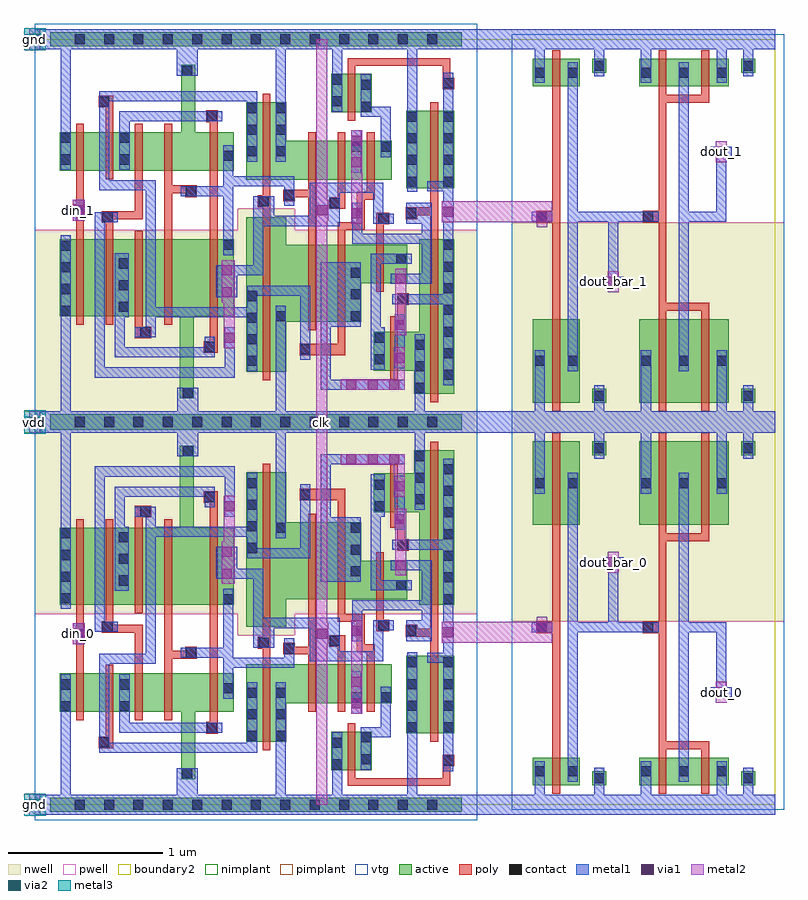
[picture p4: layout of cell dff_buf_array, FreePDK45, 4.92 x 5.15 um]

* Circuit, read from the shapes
.subckt dff_buf_array clk din_0 din_1 dout_0 dout_1 dout_bar_0 dout_bar_1 gnd vdd
M1 n1 din_0 gnd gnd nfet w=0.25u l=0.05u
M2 n2 din_1 gnd gnd nfet w=0.25u l=0.05u
M3 n3 n4 n1 gnd nfet w=0.25u l=0.05u
M4 n5 n6 n2 gnd nfet w=0.25u l=0.05u
M5 n7 clk n3 gnd nfet w=0.25u l=0.05u
M6 n8 clk n5 gnd nfet w=0.25u l=0.05u
M7 gnd n9 n7 gnd nfet w=0.25u l=0.05u
M8 gnd n10 n8 gnd nfet w=0.25u l=0.05u
M9 n9 n3 gnd gnd nfet w=0.25u l=0.05u
M10 n10 n5 gnd gnd nfet w=0.25u l=0.05u
M11 gnd clk n4 gnd nfet w=0.5u l=0.05u
M12 gnd clk n6 gnd nfet w=0.5u l=0.05u
M13 n11 n9 gnd gnd nfet w=0.25u l=0.05u
M14 n12 n10 gnd gnd nfet w=0.25u l=0.05u
M15 n13 clk n11 gnd nfet w=0.25u l=0.05u
M16 n14 clk n12 gnd nfet w=0.25u l=0.05u
M17 n15 dff_buf_0_0/pinv_3_1/A gnd gnd nfet w=0.25u l=0.05u
M18 n16 dff_buf_0_1/pinv_3_1/A gnd gnd nfet w=0.25u l=0.05u
M19 n15 n4 n13 gnd nfet w=0.25u l=0.05u
M20 n16 n6 n14 gnd nfet w=0.25u l=0.05u
M21 dff_buf_0_0/pinv_3_1/A n13 gnd gnd nfet w=0.5u l=0.05u
M22 dff_buf_0_1/pinv_3_1/A n14 gnd gnd nfet w=0.5u l=0.05u
M23 dout_bar_0 dff_buf_0_0/pinv_3_1/A gnd gnd nfet w=0.18u l=0.05u
M24 dout_bar_1 dff_buf_0_1/pinv_3_1/A gnd gnd nfet w=0.18u l=0.05u
M25 dout_0 dout_bar_0 gnd gnd nfet w=0.18u l=0.05u m=2
M26 dout_1 dout_bar_1 gnd gnd nfet w=0.18u l=0.05u m=2
M27 n17 din_0 vdd vdd pfet w=0.5u l=0.05u
M28 n18 din_1 vdd vdd pfet w=0.5u l=0.05u
M29 n3 clk n17 vdd pfet w=0.5u l=0.05u
M30 n5 clk n18 vdd pfet w=0.5u l=0.05u
M31 n19 n4 n3 vdd pfet w=0.5u l=0.05u
M32 n20 n6 n5 vdd pfet w=0.5u l=0.05u
M33 vdd n9 n19 vdd pfet w=0.5u l=0.05u
M34 vdd n10 n20 vdd pfet w=0.5u l=0.05u
M35 n9 n3 vdd vdd pfet w=0.5u l=0.05u
M36 n10 n5 vdd vdd pfet w=0.5u l=0.05u
M37 vdd clk n4 vdd pfet w=1u l=0.05u
M38 vdd clk n6 vdd pfet w=1u l=0.05u
M39 n21 n9 vdd vdd pfet w=0.5u l=0.05u
M40 n22 n10 vdd vdd pfet w=0.5u l=0.05u
M41 n13 n4 n21 vdd pfet w=0.5u l=0.05u
M42 n14 n6 n22 vdd pfet w=0.5u l=0.05u
M43 n23 clk n13 vdd pfet w=0.25u l=0.05u
M44 n24 clk n14 vdd pfet w=0.25u l=0.05u
M45 vdd dff_buf_0_0/pinv_3_1/A n23 vdd pfet w=0.25u l=0.05u
M46 vdd dff_buf_0_1/pinv_3_1/A n24 vdd pfet w=0.25u l=0.05u
M47 dff_buf_0_0/pinv_3_1/A n13 vdd vdd pfet w=1u l=0.05u
M48 dff_buf_0_1/pinv_3_1/A n14 vdd vdd pfet w=1u l=0.05u
M49 dout_bar_0 dff_buf_0_0/pinv_3_1/A vdd vdd pfet w=0.54u l=0.05u
M50 dout_bar_1 dff_buf_0_1/pinv_3_1/A vdd vdd pfet w=0.54u l=0.05u
M51 dout_0 dout_bar_0 vdd vdd pfet w=0.54u l=0.05u m=2
M52 dout_1 dout_bar_1 vdd vdd pfet w=0.54u l=0.05u m=2
.ends

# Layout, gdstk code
import gdstk
lib = gdstk.Library(unit=1e-6, precision=5e-10)
def R(c, l, rs):  # rectangles x0, y0, x1, y1
    for r in rs: c.add(gdstk.rectangle(r[:2], r[2:], *l))
def A(c, l, x, y, w, h, nx, ny, dx, dy):  # array of equal rectangles
    R(c, l, [(x+i*dx, y+j*dy, x+i*dx+w, y+j*dy+h) for i in range(nx) for j in range(ny)])
def P(c, l, *ps):  # polygons
    for p in ps: c.add(gdstk.Polygon(p, *l))
active = (1, 0)
pwell = (2, 0)
nwell = (3, 0)
nimplant = (4, 0)
pimplant = (5, 0)
vtg = (6, 0)
poly = (9, 0)
contact = (10, 0)
metal1 = (11, 0)
via1 = (12, 0)
metal2 = (13, 0)
via2 = (14, 0)
metal3 = (15, 0)
boundary2 = (239, 0)

dff = lib.new_cell('dff')
A(dff, active, 0.2675, 0.6, 0.05, 0.25, 4, 1, 0.19, 0)
A(dff, active, 0.3175, 0.6, 0.14, 0.25, 3, 1, 0.19, 0)
A(dff, active, 1.7675, 0.6575, 0.05, 0.25, 3, 1, 0.19, 0)
A(dff, active, 0.2675, 1.2925, 0.05, 0.5, 4, 1, 0.19, 0)
A(dff, active, 0.3175, 1.2925, 0.14, 0.5, 3, 1, 0.19, 0)
R(dff, active, [(0.1,-0.045,2.76,0.045), (1.9175,0.2225,2.0225,0.4725), (2.0225,0.2225,2.0725,0.4725), (2.0725,0.2225,2.1775,0.4725), (1.3675,0.4075,1.4725,0.9075), (1.4725,0.4075,1.5225,0.9075), (2.4025,0.4625,2.5575,0.9625), (2.5575,0.4625,2.6075,0.9625), (2.6075,0.4625,2.7125,0.9625), (0.1625,0.6,0.2675,0.85), (1.1325,0.6,1.1825,0.85), (1.1825,0.6,1.2875,0.85), (1.8175,0.6575,1.9575,0.9075), (2.0075,0.6575,2.1475,0.9075), (2.1975,0.6575,2.3075,0.9075), (1.3675,1.15,1.4725,2.15), (1.4725,1.15,1.5225,2.15), (0.1625,1.2925,0.2675,1.7925), (1.1325,1.2925,1.1825,1.7925), (1.1825,1.2925,1.2875,1.7925), (2.5575,1.2925,2.6075,2.2925), (2.6075,1.2925,2.7125,2.2925), (1.7675,1.3275,1.8175,1.8275), (1.8175,1.3275,1.9575,1.8275), (1.9575,1.3275,2.0075,1.8275), (2.2075,1.3275,2.2575,1.5775), (2.2575,1.3275,2.4075,1.5775), (2.1925,1.8925,2.2975,2.1425), (2.2975,1.8925,2.3475,2.1425), (0.1,2.425,2.76,2.515)])
P(dff, active, [(0.8875,1.2925),(0.8875,1.7925),(0.9375,1.7925),(0.9375,2.3225),(1.0275,2.3225),(1.0275,1.7925),(1.1325,1.7925),(1.1325,1.2925)],
  [(1.5225,1.15),(1.5225,2.15),(1.6275,2.15),(1.6275,1.8275),(1.7675,1.8275),(1.7675,1.3275),(1.6275,1.3275),(1.6275,1.15)],
  [(2.0075,1.3275),(2.0075,1.8275),(2.1125,1.8275),(2.1125,1.5775),(2.2075,1.5775),(2.2075,1.3275)],
  [(2.4875,1.2925),(2.4875,1.8925),(2.3475,1.8925),(2.3475,2.1425),(2.4525,2.1425),(2.4525,2.2925),(2.5575,2.2925),(2.5575,1.2925)],
  [(0.9475,0.165),(0.9475,0.6),(0.8875,0.6),(0.8875,0.85),(1.1325,0.85),(1.1325,0.6),(1.0375,0.6),(1.0375,0.165)],
  [(1.5225,0.4075),(1.5225,0.9075),(1.7675,0.9075),(1.7675,0.6575),(1.6275,0.6575),(1.6275,0.4075)])
P(dff, pwell, [(0,-0.1),(0,1.235),(1.3125,1.235),(1.3125,1.095),(1.6825,1.095),(1.6825,1.235),(2.86,1.235),(2.86,-0.1)])
P(dff, nwell, [(1.3125,1.095),(1.3125,1.235),(0,1.235),(0,2.57),(2.86,2.57),(2.86,1.235),(1.6825,1.235),(1.6825,1.095)])
A(dff, nimplant, 0.2675, 0.6, 0.05, 0.25, 4, 1, 0.19, 0)
A(dff, nimplant, 0.3175, 0.6, 0.14, 0.25, 3, 1, 0.19, 0)
A(dff, nimplant, 1.7675, 0.6575, 0.05, 0.25, 3, 1, 0.19, 0)
R(dff, nimplant, [(1.9175,0.2225,2.0225,0.4725), (2.0225,0.2225,2.0725,0.4725), (2.0725,0.2225,2.1775,0.4725), (1.3675,0.4075,1.4725,0.9075), (1.4725,0.4075,1.5225,0.9075), (2.4025,0.4625,2.5575,0.9625), (2.5575,0.4625,2.6075,0.9625), (2.6075,0.4625,2.7125,0.9625), (0.1625,0.6,0.2675,0.85), (1.1325,0.6,1.1825,0.85), (1.1825,0.6,1.2875,0.85), (1.8175,0.6575,1.9575,0.9075), (2.0075,0.6575,2.1475,0.9075), (2.1975,0.6575,2.3075,0.9075), (0.1,2.425,2.76,2.515)])
P(dff, nimplant, [(0.9475,0.165),(0.9475,0.6),(0.8875,0.6),(0.8875,0.85),(1.1325,0.85),(1.1325,0.6),(1.0375,0.6),(1.0375,0.165)],
  [(1.5225,0.4075),(1.5225,0.9075),(1.7675,0.9075),(1.7675,0.6575),(1.6275,0.6575),(1.6275,0.4075)])
A(dff, pimplant, 0.2675, 1.2925, 0.05, 0.5, 4, 1, 0.19, 0)
A(dff, pimplant, 0.3175, 1.2925, 0.14, 0.5, 3, 1, 0.19, 0)
R(dff, pimplant, [(0.1,-0.045,2.76,0.045), (1.3675,1.15,1.4725,2.15), (1.4725,1.15,1.5225,2.15), (0.1625,1.2925,0.2675,1.7925), (1.1325,1.2925,1.1825,1.7925), (1.1825,1.2925,1.2875,1.7925), (2.5575,1.2925,2.6075,2.2925), (2.6075,1.2925,2.7125,2.2925), (1.7675,1.3275,1.8175,1.8275), (1.8175,1.3275,1.9575,1.8275), (1.9575,1.3275,2.0075,1.8275), (2.2075,1.3275,2.2575,1.5775), (2.2575,1.3275,2.4075,1.5775), (2.1925,1.8925,2.2975,2.1425), (2.2975,1.8925,2.3475,2.1425)])
P(dff, pimplant, [(0.8875,1.2925),(0.8875,1.7925),(0.9375,1.7925),(0.9375,2.3225),(1.0275,2.3225),(1.0275,1.7925),(1.1325,1.7925),(1.1325,1.2925)],
  [(1.5225,1.15),(1.5225,2.15),(1.6275,2.15),(1.6275,1.8275),(1.7675,1.8275),(1.7675,1.3275),(1.6275,1.3275),(1.6275,1.15)],
  [(2.0075,1.3275),(2.0075,1.8275),(2.1125,1.8275),(2.1125,1.5775),(2.2075,1.5775),(2.2075,1.3275)],
  [(2.4875,1.2925),(2.4875,1.8925),(2.3475,1.8925),(2.3475,2.1425),(2.4525,2.1425),(2.4525,2.2925),(2.5575,2.2925),(2.5575,1.2925)])
R(dff, vtg, [(0,-0.1,2.86,2.57)])
A(dff, poly, 0.2675, 0.6, 0.05, 0.25, 4, 1, 0.19, 0)
A(dff, poly, 1.7675, 0.6025, 0.05, 0.055, 3, 1, 0.19, 0)
A(dff, poly, 1.7675, 0.6575, 0.05, 0.25, 3, 1, 0.19, 0)
A(dff, poly, 0.2675, 1.2925, 0.05, 0.5, 4, 1, 0.19, 0)
R(dff, poly, [(2.0225,0.2225,2.0725,0.4725), (1.4725,0.3525,1.5225,0.4075), (1.4725,0.4075,1.5225,0.9075), (2.5575,0.4075,2.6075,0.4625), (2.5575,0.4625,2.6075,0.9625), (2.0225,0.4725,2.0725,0.5275), (0.2675,0.545,0.3175,0.6), (0.6475,0.545,0.6975,0.6), (0.8375,0.545,0.8875,0.6), (1.1325,0.6,1.1825,0.85), (0.4575,0.85,0.5075,0.905), (1.1325,0.85,1.1825,1.2925), (1.4725,1.15,1.5225,2.15), (0.6475,1.2375,0.6975,1.2925), (1.1325,1.2925,1.1825,1.7925), (2.5575,1.2925,2.6075,2.2925), (1.7675,1.3275,1.8175,1.8275), (1.9575,1.3275,2.0075,1.8275), (2.2075,1.3275,2.2575,1.5775), (2.2075,1.5775,2.2575,1.6325), (0.2675,1.7925,0.3175,1.8475), (0.4575,1.7925,0.5075,1.8475), (0.8375,1.7925,0.8875,1.8475), (1.7675,1.8275,1.8175,1.8825), (2.2975,1.8925,2.3475,2.1425), (2.2975,2.1425,2.3475,2.1975), (1.4725,2.15,1.5225,2.205), (2.5575,2.2925,2.6075,2.3475)])
P(dff, poly, [(0.2675,0.85),(0.2675,1.0675),(0.2425,1.0675),(0.2425,1.1425),(0.2675,1.1425),(0.2675,1.2925),(0.3175,1.2925),(0.3175,0.85)],
  [(0.4125,0.365),(0.4125,0.44),(0.4575,0.44),(0.4575,0.6),(0.5075,0.6),(0.5075,0.365)],
  [(0.6475,1.7925),(0.6475,1.9325),(0.7525,1.9325),(0.7525,1.8575),(0.6975,1.8575),(0.6975,1.7925)],
  [(0.6475,0.85),(0.6475,1.1125),(0.4325,1.1125),(0.4325,1.1875),(0.4575,1.1875),(0.4575,1.2925),(0.5075,1.2925),(0.5075,1.1625),(0.6975,1.1625),(0.6975,0.85)],
  [(0.8375,0.85),(0.8375,1.2925),(0.8875,1.2925),(0.8875,0.995),(0.9725,0.995),(0.9725,1.02),(1.0475,1.02),(1.0475,0.945),(0.8875,0.945),(0.8875,0.85)],
  [(1.1325,1.7925),(1.1325,1.9525),(1.0925,1.9525),(1.0925,2.0275),(1.1825,2.0275),(1.1825,1.7925)],
  [(1.1075,0.46),(1.1075,0.535),(1.1325,0.535),(1.1325,0.6),(1.1825,0.6),(1.1825,0.46)],
  [(1.4725,0.9075),(1.4725,1.01),(1.4425,1.01),(1.4425,1.085),(1.4725,1.085),(1.4725,1.15),(1.5225,1.15),(1.5225,0.9075)],
  [(1.7675,0.9075),(1.7675,0.9725),(1.6075,0.9725),(1.6075,1.0475),(1.6825,1.0475),(1.6825,1.0225),(1.7675,1.0225),(1.7675,1.3275),(1.8175,1.3275),(1.8175,0.9075)],
  [(1.9575,1.8275),(1.9575,1.9675),(1.7125,1.9675),(1.7125,2.0425),(2.0075,2.0425),(2.0075,1.8275)],
  [(1.9575,0.9075),(1.9575,1.0225),(1.9025,1.0225),(1.9025,1.0975),(2.0075,1.0975),(2.0075,0.9075)],
  [(2.3425,1.6425),(2.3425,1.7925),(2.2975,1.7925),(2.2975,1.8925),(2.3475,1.8925),(2.3475,1.8425),(2.3925,1.8425),(2.3925,1.7175),(2.4175,1.7175),(2.4175,1.6425)],
  [(2.2075,1.1225),(2.2075,1.3275),(2.2575,1.3275),(2.2575,1.1975),(2.2925,1.1975),(2.2925,1.1225)],
  [(2.0225,0.1225),(2.0225,0.2225),(2.0725,0.2225),(2.0725,0.1725),(2.6375,0.1725),(2.6375,0.3225),(2.7125,0.3225),(2.7125,0.2475),(2.6875,0.2475),(2.6875,0.1225)],
  [(2.1475,0.9075),(2.1475,0.9875),(2.0825,0.9875),(2.0825,1.1825),(1.9575,1.1825),(1.9575,1.3275),(2.0075,1.3275),(2.0075,1.2325),(2.1325,1.2325),(2.1325,1.0375),(2.1975,1.0375),(2.1975,0.9075)],
  [(2.5575,0.9625),(2.5575,1.0875),(2.3975,1.0875),(2.3975,1.1625),(2.4725,1.1625),(2.4725,1.1375),(2.5575,1.1375),(2.5575,1.2925),(2.6075,1.2925),(2.6075,0.9625)])
A(dff, contact, 0.2575, -0.0325, 0.065, 0.065, 13, 2, 0.19, 2.475)
A(dff, contact, 1.3725, 0.4125, 0.065, 0.065, 1, 3, 0, 0.14)
A(dff, contact, 1.5575, 0.4125, 0.065, 0.065, 1, 3, 0, 0.14)
A(dff, contact, 2.4075, 0.4675, 0.065, 0.065, 1, 4, 0, 0.14)
A(dff, contact, 2.6425, 0.4675, 0.065, 0.065, 1, 4, 0, 0.14)
A(dff, contact, 2.6425, 1.2975, 0.065, 0.065, 1, 7, 0, 0.14)
A(dff, contact, 0.1675, 1.3025, 0.065, 0.065, 1, 4, 0, 0.14)
A(dff, contact, 0.5425, 1.4175, 0.065, 0.065, 1, 3, 0, 0.14)
A(dff, contact, 2.0425, 1.4775, 0.065, 0.065, 1, 3, 0, 0.14)
A(dff, contact, 1.3725, 1.6275, 0.065, 0.065, 1, 4, 0, 0.14)
A(dff, contact, 2.4575, 1.9425, 0.065, 0.065, 1, 3, 0, 0.14)
R(dff, contact, [(0.9525,0.17,1.0175,0.235), (1.9225,0.2275,1.9875,0.2925), (2.6425,0.2525,2.7075,0.3175), (2.1075,0.2625,2.1725,0.3275), (1.9225,0.3675,1.9875,0.4325), (0.4175,0.37,0.4825,0.435), (2.1075,0.4025,2.1725,0.4675), (1.1125,0.465,1.1775,0.53), (0.1675,0.605,0.2325,0.67), (0.5475,0.605,0.6125,0.67), (2.0475,0.6625,2.1125,0.7275), (2.2375,0.6625,2.3025,0.7275), (1.2175,0.72,1.2825,0.785), (0.1675,0.745,0.2325,0.81), (0.5475,0.745,0.6125,0.81), (0.9775,0.95,1.0425,1.015), (1.6125,0.9775,1.6775,1.0425), (1.4475,1.015,1.5125,1.08), (1.9075,1.0275,1.9725,1.0925), (0.2475,1.0725,0.3125,1.1375), (2.4025,1.0925,2.4675,1.1575), (0.4375,1.1175,0.5025,1.1825), (2.2225,1.1275,2.2875,1.1925), (1.2175,1.2975,1.2825,1.3625), (2.3375,1.3875,2.4025,1.4525), (2.3475,1.6475,2.4125,1.7125), (1.5575,1.7575,1.6225,1.8225), (0.6825,1.8625,0.7475,1.9275), (2.1975,1.8975,2.2625,1.9625), (1.0975,1.9575,1.1625,2.0225), (1.7175,1.9725,1.7825,2.0375), (2.1975,2.0375,2.2625,2.1025), (0.9575,2.2525,1.0225,2.3175)])
R(dff, metal1, [(0,-0.065,2.86,0.065), (0,-0.065,2.86,0.065), (0,-0.065,2.86,0.065), (2.0475,0.5875,2.1125,0.8625), (2.6425,0.915,2.7075,1.1275), (1.7775,0.9275,1.9725,1.2075), (0.245,1.0375,0.3225,1.1725), (2.6325,1.0475,2.71,1.1825), (2.3275,1.7775,2.3925,2.1275), (0,2.405,2.76,2.535), (0,2.405,2.76,2.535), (0,2.405,2.76,2.535)])
P(dff, metal1, [(0.1675,1.2675),(0.1675,2.405),(0.1,2.405),(0.1,2.535),(2.86,2.535),(2.86,2.405),(2.5225,2.405),(2.5225,1.9075),(2.4575,1.9075),(2.4575,2.405),(1.6225,2.405),(1.6225,1.7225),(1.5575,1.7225),(1.5575,2.405),(1.0575,2.405),(1.0575,2.2525),(0.9225,2.2525),(0.9225,2.405),(0.2325,2.405),(0.2325,1.2675)],
  [(0.1,-0.065),(0.1,0.065),(0.1675,0.065),(0.1675,0.845),(0.2325,0.845),(0.2325,0.065),(0.9175,0.065),(0.9175,0.235),(1.0525,0.235),(1.0525,0.065),(1.5575,0.065),(1.5575,0.7925),(1.6225,0.7925),(1.6225,0.065),(1.9225,0.065),(1.9225,0.4675),(1.9875,0.4675),(1.9875,0.065),(2.4075,0.065),(2.4075,0.9875),(2.4725,0.9875),(2.4725,0.065),(2.76,0.065),(2.76,-0.065)],
  [(0.4175,0.335),(0.4175,0.975),(0.7175,0.975),(0.7175,1.8625),(0.6475,1.8625),(0.6475,1.9275),(0.7825,1.9275),(0.7825,1.7975),(1.3725,1.7975),(1.3725,2.1475),(1.4375,2.1475),(1.4375,1.6575),(1.7175,1.6575),(1.7175,2.0725),(1.7825,2.0725),(1.7825,1.5925),(1.3725,1.5925),(1.3725,1.7325),(0.7825,1.7325),(0.7825,0.91),(0.4825,0.91),(0.4825,0.4),(1.3725,0.4),(1.3725,0.7925),(1.4375,0.7925),(1.4375,0.335)],
  [(1.7775,0.9275),(1.7775,1.1425),(1.5475,1.1425),(1.5475,1.015),(1.4125,1.015),(1.4125,1.4625),(1.1725,1.4625),(1.1725,1.6675),(1.3075,1.6675),(1.3075,1.5275),(1.4775,1.5275),(1.4775,1.2075),(1.9725,1.2075),(1.9725,0.9925),(2.1875,0.9925),(2.1875,1.1925),(2.3225,1.1925),(2.3225,1.1275),(2.2525,1.1275),(2.2525,0.9275)],
  [(0.3875,1.1175),(0.3875,2.1875),(1.2925,2.1875),(1.2925,1.8625),(1.2275,1.8625),(1.2275,2.1225),(0.4525,2.1225),(0.4525,1.1825),(0.5375,1.1825),(0.5375,1.1175)],
  [(0.5175,1.3825),(0.5175,2.0575),(1.1625,2.0575),(1.1625,1.9225),(1.0975,1.9225),(1.0975,1.9925),(0.5825,1.9925),(0.5825,1.7975),(0.6075,1.7975),(0.6075,1.3825)],
  [(0.5475,0.465),(0.5475,0.845),(0.6125,0.845),(0.6125,0.53),(1.2125,0.53),(1.2125,0.465)],
  [(1.2175,0.685),(1.2175,0.95),(0.9425,0.95),(0.9425,1.015),(1.2175,1.015),(1.2175,1.3975),(1.2825,1.3975),(1.2825,0.95),(1.6125,0.95),(1.6125,1.0775),(1.6775,1.0775),(1.6775,0.885),(1.2825,0.885),(1.2825,0.685)],
  [(1.8475,1.4425),(1.8475,2.2675),(2.3925,2.2675),(2.3925,2.2025),(1.9125,2.2025),(1.9125,1.8575),(2.1075,1.8575),(2.1075,1.4425)],
  [(2.0525,1.0575),(2.0525,1.3225),(2.5025,1.3225),(2.5025,1.5175),(2.3025,1.5175),(2.3025,1.5825),(2.5675,1.5825),(2.5675,1.0575),(2.4025,1.0575),(2.4025,1.1925),(2.5025,1.1925),(2.5025,1.2575),(2.1175,1.2575),(2.1175,1.0575)],
  [(2.1725,1.3875),(2.1725,2.1375),(2.2625,2.1375),(2.2625,1.8625),(2.2375,1.8625),(2.2375,1.4525),(2.4375,1.4525),(2.4375,1.3875)],
  [(2.6425,0.2175),(2.6425,0.9175),(2.5375,0.9175),(2.5375,0.9825),(2.6425,0.9825),(2.6425,1.6475),(2.3125,1.6475),(2.3125,1.7125),(2.6425,1.7125),(2.6425,2.2375),(2.7075,2.2375),(2.7075,0.2175)],
  [(2.1075,0.2275),(2.1075,0.5025),(2.2375,0.5025),(2.2375,0.7625),(2.3025,0.7625),(2.3025,0.4375),(2.1725,0.4375),(2.1725,0.2275)])
A(dff, via1, 2.0125, 2.2025, 0.065, 0.065, 3, 1, 0.14, 0)
R(dff, via1, [(2.0475,0.6225,2.1125,0.6875), (2.0475,0.7625,2.1125,0.8275), (0.2475,1.0725,0.3125,1.1375), (1.825,1.0725,1.89,1.1375), (2.64,1.0825,2.705,1.1475), (2.0525,1.0925,2.1175,1.1575), (1.2075,1.4625,1.2725,1.5275), (2.3375,1.5175,2.4025,1.5825), (1.2075,1.6025,1.2725,1.6675), (2.3275,1.8125,2.3925,1.8775), (1.2275,1.8975,1.2925,1.9625), (2.3275,2.0275,2.3925,2.0925)])
R(dff, metal2, [(2.0475,0.5875,2.1175,1.1925), (0.245,1.0375,0.3225,1.1725), (0.245,1.0375,0.3225,1.1725), (0.245,1.0375,0.3225,1.1725), (1.82,1.0375,1.8975,1.1725), (1.82,1.0375,1.8975,1.1725), (1.82,1.0375,1.8975,1.1725), (2.6325,1.0475,2.71,1.1825), (2.6325,1.0475,2.71,1.1825), (2.6325,1.0475,2.71,1.1825)])
P(dff, metal2, [(1.2075,1.4275),(1.2075,1.7025),(1.2225,1.7025),(1.2225,1.9975),(1.2925,1.9975),(1.2925,1.4275)],
  [(2.3225,1.9925),(2.3225,2.1975),(1.9775,2.1975),(1.9775,2.2675),(2.3925,2.2675),(2.3925,1.9925)],
  [(2.3325,1.4825),(2.3325,1.7775),(2.3275,1.7775),(2.3275,1.9125),(2.4025,1.9125),(2.4025,1.4825)])
R(dff, boundary2, [(0,0,2.86,2.475)])
dff.add(gdstk.Label('clk', (1.865,1.15), layer=13, texttype=0))
dff.add(gdstk.Label('D', (0.295,1.15), layer=13, texttype=0))
dff.add(gdstk.Label('Q', (2.685,1.1), layer=13, texttype=0))
dff.add(gdstk.Label('D', (0.284,1.105), layer=13, texttype=0))
dff.add(gdstk.Label('Q', (2.671,1.115), layer=13, texttype=0))
dff.add(gdstk.Label('clk', (1.859,1.105), layer=13, texttype=0))
dff.add(gdstk.Label('vdd', (2.035,2.5325), layer=11, texttype=0))
dff.add(gdstk.Label('gnd', (1.645,0.0425), layer=11, texttype=0))
dff.add(gdstk.Label('vdd', (1.38,2.47), layer=11, texttype=0))
dff.add(gdstk.Label('gnd', (1.43,0), layer=11, texttype=0))

contact_10 = lib.new_cell('contact_10')
R(contact_10, active, [(0,0.0225,0.09,0.1125)])
R(contact_10, nwell, [(-0.055,-0.0325,0.145,0.1675)])
R(contact_10, pimplant, [(0,0.0225,0.09,0.1125)])
R(contact_10, contact, [(0.0125,0.035,0.0775,0.1)])
R(contact_10, metal1, [(0.0125,0,0.0775,0.135)])
R(contact_10, boundary2, [(-0.055,-0.0325,0.145,0.1675)])

pmos_m1_w0_540_sm1_dm1_d = lib.new_cell('pmos_m1_w0_540_sm1_dm1_da_p')
R(pmos_m1_w0_540_sm1_dm1_d, active, [(0,0,0.305,0.54)])
R(pmos_m1_w0_540_sm1_dm1_d, nwell, [(-0.08,-0.08,0.385,0.62)])
R(pmos_m1_w0_540_sm1_dm1_d, pimplant, [(0,0,0.305,0.54)])
R(pmos_m1_w0_540_sm1_dm1_d, vtg, [(-0.08,-0.08,0.385,0.62)])
R(pmos_m1_w0_540_sm1_dm1_d, poly, [(0.1275,-0.055,0.1775,0.595), (0.1275,-0.055,0.1775,0.595)])
R(pmos_m1_w0_540_sm1_dm1_d, metal1, [(0.0125,0.2025,0.0775,0.3375), (0.2275,0.2025,0.2925,0.3375)])
R(pmos_m1_w0_540_sm1_dm1_d, boundary2, [(-0.08,-0.08,0.385,0.62)])
pmos_m1_w0_540_sm1_dm1_d.add(gdstk.Reference(contact_10, (0,0.2025)))
pmos_m1_w0_540_sm1_dm1_d.add(gdstk.Reference(contact_10, (0.215,0.2025)))
pmos_m1_w0_540_sm1_dm1_d.add(gdstk.Label('S', (0.045,0.27), layer=11, texttype=0))
pmos_m1_w0_540_sm1_dm1_d.add(gdstk.Label('D', (0.26,0.27), layer=11, texttype=0))
pmos_m1_w0_540_sm1_dm1_d.add(gdstk.Label('G', (0.1525,0.27), layer=9, texttype=0))

contact_9 = lib.new_cell('contact_9')
R(contact_9, active, [(0,0.0225,0.09,0.1125)])
R(contact_9, pwell, [(-0.055,-0.0325,0.145,0.1675)])
R(contact_9, nimplant, [(0,0.0225,0.09,0.1125)])
R(contact_9, contact, [(0.0125,0.035,0.0775,0.1)])
R(contact_9, metal1, [(0.0125,0,0.0775,0.135)])
R(contact_9, boundary2, [(-0.055,-0.0325,0.145,0.1675)])

nmos_m1_w0_180_sm1_dm1_d = lib.new_cell('nmos_m1_w0_180_sm1_dm1_da_p')
R(nmos_m1_w0_180_sm1_dm1_d, active, [(0,0,0.305,0.18)])
R(nmos_m1_w0_180_sm1_dm1_d, pwell, [(-0.08,-0.08,0.385,0.26)])
R(nmos_m1_w0_180_sm1_dm1_d, nimplant, [(0,0,0.305,0.18)])
R(nmos_m1_w0_180_sm1_dm1_d, vtg, [(-0.08,-0.08,0.385,0.26)])
R(nmos_m1_w0_180_sm1_dm1_d, poly, [(0.1275,-0.055,0.1775,0.235), (0.1275,-0.055,0.1775,0.235)])
R(nmos_m1_w0_180_sm1_dm1_d, metal1, [(0.0125,0.0225,0.0775,0.1575), (0.2275,0.0225,0.2925,0.1575)])
R(nmos_m1_w0_180_sm1_dm1_d, boundary2, [(-0.08,-0.08,0.385,0.26)])
nmos_m1_w0_180_sm1_dm1_d.add(gdstk.Reference(contact_9, (0,0.0225)))
nmos_m1_w0_180_sm1_dm1_d.add(gdstk.Reference(contact_9, (0.215,0.0225)))
nmos_m1_w0_180_sm1_dm1_d.add(gdstk.Label('S', (0.045,0.09), layer=11, texttype=0))
nmos_m1_w0_180_sm1_dm1_d.add(gdstk.Label('D', (0.26,0.09), layer=11, texttype=0))
nmos_m1_w0_180_sm1_dm1_d.add(gdstk.Label('G', (0.1525,0.09), layer=9, texttype=0))

contact_11 = lib.new_cell('contact_11')
R(contact_11, active, [(0,0.0225,0.09,0.1125)])
R(contact_11, nwell, [(-0.055,-0.0325,0.145,0.1675)])
R(contact_11, nimplant, [(0,0.0225,0.09,0.1125)])
R(contact_11, contact, [(0.0125,0.035,0.0775,0.1)])
R(contact_11, metal1, [(0.0125,0,0.0775,0.135)])
R(contact_11, boundary2, [(-0.055,-0.0325,0.145,0.1675)])

contact_12 = lib.new_cell('contact_12')
R(contact_12, active, [(0,0.0225,0.09,0.1125)])
R(contact_12, pwell, [(-0.055,-0.0325,0.145,0.1675)])
R(contact_12, pimplant, [(0,0.0225,0.09,0.1125)])
R(contact_12, contact, [(0.0125,0.035,0.0775,0.1)])
R(contact_12, metal1, [(0.0125,0,0.0775,0.135)])
R(contact_12, boundary2, [(-0.055,-0.0325,0.145,0.1675)])

contact_13 = lib.new_cell('contact_13')
R(contact_13, poly, [(0.03,0,0.105,0.075)])
R(contact_13, contact, [(0.035,0.005,0.1,0.07)])
R(contact_13, metal1, [(0,0.005,0.135,0.07)])
R(contact_13, boundary2, [(0,0,0.135,0.075)])

pinv_3 = lib.new_cell('pinv_3')
R(pinv_3, pwell, [(-0.055,-0.0325,0.7425,1.1875)])
R(pinv_3, nwell, [(-0.055,1.1875,0.7425,2.51)])
R(pinv_3, vtg, [(-0.055,-0.0325,0.7425,1.1875), (-0.055,1.1875,0.7425,2.51)])
R(pinv_3, poly, [(0.2075,0.36,0.2575,1.755), (0.14,1.11,0.2075,1.185)])
R(pinv_3, metal1, [(0,-0.0325,0.6875,0.0325), (0.0925,-0.0325,0.1575,0.1475), (0.4775,0,0.5425,0.17), (0.3075,0.1475,0.3725,2.1475), (0.0725,1.115,0.2075,1.18), (0.34,1.115,0.405,1.18), (0.0925,2.0125,0.1575,2.5075), (0.4775,2.305,0.5425,2.475), (0,2.4425,0.6875,2.5075)])
R(pinv_3, boundary2, [(0,0,0.6875,2.475), (0,0,0.6875,2.475)])
pinv_3.add(gdstk.Reference(pmos_m1_w0_540_sm1_dm1_d, (0.08,1.81)))
pinv_3.add(gdstk.Reference(nmos_m1_w0_180_sm1_dm1_d, (0.08,0.125)))
pinv_3.add(gdstk.Reference(contact_11, (0.465,2.2375)))
pinv_3.add(gdstk.Reference(contact_12, (0.465,0.1025)))
pinv_3.add(gdstk.Reference(contact_13, (0.0725,1.11)))
pinv_3.add(gdstk.Label('A', (0.14,1.1475), layer=11, texttype=0))
pinv_3.add(gdstk.Label('Z', (0.3725,1.1475), layer=11, texttype=0))
pinv_3.add(gdstk.Label('gnd', (0.344,0), layer=11, texttype=0))
pinv_3.add(gdstk.Label('vdd', (0.344,2.475), layer=11, texttype=0))

pmos_m2_w0_540_sm1_dm1_d = lib.new_cell('pmos_m2_w0_540_sm1_dm1_da_p')
R(pmos_m2_w0_540_sm1_dm1_d, active, [(0,0,0.58,0.54)])
R(pmos_m2_w0_540_sm1_dm1_d, nwell, [(-0.08,-0.08,0.66,0.62)])
R(pmos_m2_w0_540_sm1_dm1_d, pimplant, [(0,0,0.58,0.54)])
R(pmos_m2_w0_540_sm1_dm1_d, vtg, [(-0.08,-0.08,0.66,0.62)])
R(pmos_m2_w0_540_sm1_dm1_d, poly, [(0.1275,-0.105,0.4525,-0.055), (0.1275,-0.055,0.1775,0.595), (0.4025,-0.055,0.4525,0.595)])
A(pmos_m2_w0_540_sm1_dm1_d, metal1, 0.0125, 0.2025, 0.065, 0.135, 3, 1, 0.245, 0)
R(pmos_m2_w0_540_sm1_dm1_d, boundary2, [(-0.08,-0.105,0.66,0.62)])
pmos_m2_w0_540_sm1_dm1_d.add(gdstk.Reference(contact_10, (0,0.2025)))
pmos_m2_w0_540_sm1_dm1_d.add(gdstk.Reference(contact_10, (0.245,0.2025)))
pmos_m2_w0_540_sm1_dm1_d.add(gdstk.Reference(contact_10, (0.49,0.2025)))
pmos_m2_w0_540_sm1_dm1_d.add(gdstk.Label('S', (0.535,0.27), layer=11, texttype=0))
pmos_m2_w0_540_sm1_dm1_d.add(gdstk.Label('S', (0.045,0.27), layer=11, texttype=0))
pmos_m2_w0_540_sm1_dm1_d.add(gdstk.Label('D', (0.29,0.27), layer=11, texttype=0))
pmos_m2_w0_540_sm1_dm1_d.add(gdstk.Label('G', (0.29,-0.08), layer=9, texttype=0))

nmos_m2_w0_180_sm1_dm1_d = lib.new_cell('nmos_m2_w0_180_sm1_dm1_da_p')
R(nmos_m2_w0_180_sm1_dm1_d, active, [(0,0,0.58,0.18)])
R(nmos_m2_w0_180_sm1_dm1_d, pwell, [(-0.08,-0.08,0.66,0.26)])
R(nmos_m2_w0_180_sm1_dm1_d, nimplant, [(0,0,0.58,0.18)])
R(nmos_m2_w0_180_sm1_dm1_d, vtg, [(-0.08,-0.08,0.66,0.26)])
R(nmos_m2_w0_180_sm1_dm1_d, poly, [(0.1275,-0.055,0.1775,0.235), (0.4025,-0.055,0.4525,0.235), (0.1275,0.235,0.4525,0.285)])
A(nmos_m2_w0_180_sm1_dm1_d, metal1, 0.0125, 0.0225, 0.065, 0.135, 3, 1, 0.245, 0)
R(nmos_m2_w0_180_sm1_dm1_d, boundary2, [(-0.08,-0.08,0.66,0.285)])
nmos_m2_w0_180_sm1_dm1_d.add(gdstk.Reference(contact_9, (0,0.0225)))
nmos_m2_w0_180_sm1_dm1_d.add(gdstk.Reference(contact_9, (0.245,0.0225)))
nmos_m2_w0_180_sm1_dm1_d.add(gdstk.Reference(contact_9, (0.49,0.0225)))
nmos_m2_w0_180_sm1_dm1_d.add(gdstk.Label('S', (0.535,0.09), layer=11, texttype=0))
nmos_m2_w0_180_sm1_dm1_d.add(gdstk.Label('S', (0.045,0.09), layer=11, texttype=0))
nmos_m2_w0_180_sm1_dm1_d.add(gdstk.Label('D', (0.29,0.09), layer=11, texttype=0))
nmos_m2_w0_180_sm1_dm1_d.add(gdstk.Label('G', (0.29,0.26), layer=9, texttype=0))

pinv_4 = lib.new_cell('pinv_4')
R(pinv_4, pwell, [(-0.055,-0.0325,1.0175,1.1875)])
R(pinv_4, nwell, [(-0.055,1.1875,1.0175,2.51)])
R(pinv_4, vtg, [(-0.055,-0.0325,1.0175,1.1875), (-0.055,1.1875,1.0175,2.51)])
R(pinv_4, poly, [(0.2075,0.41,0.2575,1.705), (0.14,1.11,0.2075,1.185)])
R(pinv_4, metal1, [(0,-0.0325,0.9625,0.0325), (0.0925,-0.0325,0.1575,0.1475), (0.5825,-0.0325,0.6475,0.1475), (0.7525,0,0.8175,0.17), (0.3375,0.1475,0.4025,2.1475), (0.0725,1.115,0.2075,1.18), (0.37,1.115,0.435,1.18), (0.0925,2.0125,0.1575,2.5075), (0.5825,2.0125,0.6475,2.5075), (0.7525,2.305,0.8175,2.475), (0,2.4425,0.9625,2.5075)])
R(pinv_4, boundary2, [(0,0,0.9625,2.475), (0,0,0.9625,2.475)])
pinv_4.add(gdstk.Reference(pmos_m2_w0_540_sm1_dm1_d, (0.08,1.81)))
pinv_4.add(gdstk.Reference(nmos_m2_w0_180_sm1_dm1_d, (0.08,0.125)))
pinv_4.add(gdstk.Reference(contact_11, (0.74,2.2375)))
pinv_4.add(gdstk.Reference(contact_12, (0.74,0.1025)))
pinv_4.add(gdstk.Reference(contact_13, (0.0725,1.11)))
pinv_4.add(gdstk.Label('A', (0.14,1.1475), layer=11, texttype=0))
pinv_4.add(gdstk.Label('Z', (0.4025,1.1475), layer=11, texttype=0))
pinv_4.add(gdstk.Label('gnd', (0.481,0), layer=11, texttype=0))
pinv_4.add(gdstk.Label('vdd', (0.481,2.475), layer=11, texttype=0))

contact_6 = lib.new_cell('contact_6')
R(contact_6, metal1, [(0,0.035,0.135,0.1)])
R(contact_6, via1, [(0.035,0.035,0.1,0.1)])
R(contact_6, metal2, [(0.0325,0,0.1025,0.135)])
R(contact_6, boundary2, [(0,0,0.135,0.135)])

dff_buf_0 = lib.new_cell('dff_buf_0')
R(dff_buf_0, metal1, [(0,-0.065,4.79,0.065), (4.4075,0.7275,4.4725,1.1475), (3.5125,1.115,3.74,1.18), (3.74,1.115,3.9675,1.18), (4.23,1.115,4.44,1.18), (4.4075,1.115,4.4725,1.18), (3.7075,1.1475,3.7725,1.5675), (0,2.405,4.79,2.535)])
R(dff_buf_0, metal2, [(4.405,0.6925,4.475,0.7625), (0.245,1.0375,0.3225,1.1725), (1.82,1.0375,1.8975,1.1725), (2.67,1.0475,3.28,1.1825), (3.2125,1.0475,3.3475,1.1825), (3.2125,1.115,3.3475,1.1475), (3.705,1.5325,3.775,1.6025)])
R(dff_buf_0, boundary2, [(0,0,4.79,2.475)])
dff_buf_0.add(gdstk.Reference(dff, (0,0)))
dff_buf_0.add(gdstk.Reference(pinv_3, (3.14,0)))
dff_buf_0.add(gdstk.Reference(pinv_4, (3.8275,0)))
dff_buf_0.add(gdstk.Reference(contact_6, (3.2125,1.08)))
dff_buf_0.add(gdstk.Reference(contact_6, (4.3725,0.66)))
dff_buf_0.add(gdstk.Reference(contact_6, (3.6725,1.5)))
dff_buf_0.add(gdstk.Label('clk', (1.859,1.105), layer=13, texttype=0))
dff_buf_0.add(gdstk.Label('D', (0.284,1.105), layer=13, texttype=0))
dff_buf_0.add(gdstk.Label('Q', (4.44,0.7275), layer=13, texttype=0))
dff_buf_0.add(gdstk.Label('Qb', (3.74,1.5675), layer=13, texttype=0))
dff_buf_0.add(gdstk.Label('vdd', (2.395,2.47), layer=11, texttype=0))
dff_buf_0.add(gdstk.Label('gnd', (2.395,0), layer=11, texttype=0))

contact_7 = lib.new_cell('contact_7')
R(contact_7, metal2, [(0.035,0,0.105,0.14)])
R(contact_7, via2, [(0.035,0.035,0.105,0.105)])
R(contact_7, metal3, [(0,0.035,0.14,0.105)])
R(contact_7, boundary2, [(0,0,0.14,0.14)])

dff_buf_array = lib.new_cell('dff_buf_array')
R(dff_buf_array, metal1, [(0,-0.065,4.79,0.065), (0,2.405,4.79,2.535), (0,2.415,4.79,2.545), (0,4.885,4.79,5.015)])
R(dff_buf_array, metal2, [(1.82,0,1.89,4.95), (4.405,0.6925,4.475,0.7625), (0.245,1.0375,0.3225,1.1725), (3.705,1.5325,3.775,1.6025), (3.705,3.3475,3.775,3.4175), (0.245,3.7775,0.3225,3.9125), (4.405,4.1875,4.475,4.2575)])
R(dff_buf_array, metal3, [(-0.07,-0.07,0.07,0.07), (-0.07,2.4,0.07,2.54), (-0.07,2.41,0.07,2.55), (-0.07,4.88,0.07,5.02)])
R(dff_buf_array, boundary2, [(0,0,4.79,4.95)])
dff_buf_array.add(gdstk.Reference(dff_buf_0, (0,0)))
dff_buf_array.add(gdstk.Reference(dff_buf_0, (0,4.95), x_reflection=True))
dff_buf_array.add(gdstk.Reference(contact_6, (-0.0675,2.4075)))
dff_buf_array.add(gdstk.Reference(contact_7, (-0.07,2.405)))
dff_buf_array.add(gdstk.Reference(contact_6, (-0.0675,-0.0675)))
dff_buf_array.add(gdstk.Reference(contact_7, (-0.07,-0.07)))
dff_buf_array.add(gdstk.Reference(contact_6, (-0.0675,2.4075)))
dff_buf_array.add(gdstk.Reference(contact_7, (-0.07,2.405)))
dff_buf_array.add(gdstk.Reference(contact_6, (-0.0675,4.8825)))
dff_buf_array.add(gdstk.Reference(contact_7, (-0.07,4.88)))
dff_buf_array.add(gdstk.Label('din_0', (0.284,1.105), layer=13, texttype=0))
dff_buf_array.add(gdstk.Label('dout_0', (4.44,0.7275), layer=13, texttype=0))
dff_buf_array.add(gdstk.Label('dout_bar_0', (3.74,1.5675), layer=13, texttype=0))
dff_buf_array.add(gdstk.Label('din_1', (0.284,3.845), layer=13, texttype=0))
dff_buf_array.add(gdstk.Label('dout_1', (4.44,4.2225), layer=13, texttype=0))
dff_buf_array.add(gdstk.Label('dout_bar_1', (3.74,3.3825), layer=13, texttype=0))
dff_buf_array.add(gdstk.Label('clk', (1.855,2.475), layer=13, texttype=0))
dff_buf_array.add(gdstk.Label('vdd', (0,2.47), layer=15, texttype=0))
dff_buf_array.add(gdstk.Label('vdd', (0,2.48), layer=15, texttype=0))
dff_buf_array.add(gdstk.Label('gnd', (0,4.95), layer=15, texttype=0))
dff_buf_array.add(gdstk.Label('gnd', (0,0), layer=15, texttype=0))

lib.write_gds('dff_buf_array.gds')
